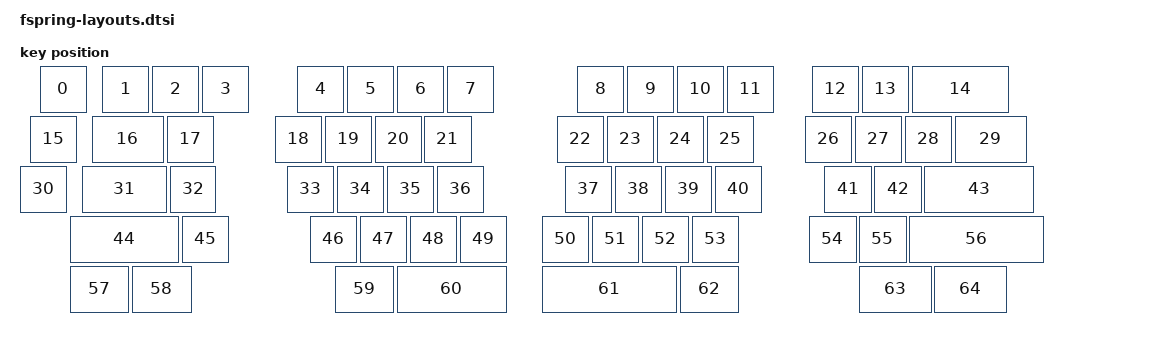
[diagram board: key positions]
/*
 * Copyright (c) 2025 The ZMK Contributors
 *
 * SPDX-License-Identifier: MIT
 */

#include <physical_layouts.dtsi>

/ {
    physical_layout0: physical_layout0 {
        compatible = "zmk,physical-layout";
        display-name = "Default";
        
        transform = <&default_transform>;
        kscan = <&kscan0>;

        keys  //                     w   h    x    y     rot    rx    ry
            = <&key_physical_attrs 100 100   75    0       0     0     0>
            , <&key_physical_attrs 100 100  200    0       0     0     0>
            , <&key_physical_attrs 100 100  300    0       0     0     0>
            , <&key_physical_attrs 100 100  400    0       0     0     0>
            , <&key_physical_attrs 100 100  590    0       0     0     0>
            , <&key_physical_attrs 100 100  690    0       0     0     0>
            , <&key_physical_attrs 100 100  790    0       0     0     0>
            , <&key_physical_attrs 100 100  890    0       0     0     0>
            , <&key_physical_attrs 100 100 1150    0       0     0     0>
            , <&key_physical_attrs 100 100 1250    0       0     0     0>
            , <&key_physical_attrs 100 100 1350    0       0     0     0>
            , <&key_physical_attrs 100 100 1450    0       0     0     0>
            , <&key_physical_attrs 100 100 1620    0       0     0     0>
            , <&key_physical_attrs 100 100 1720    0       0     0     0>
            , <&key_physical_attrs 200 100 1820    0       0     0     0>
            , <&key_physical_attrs 100 100   55  100       0     0     0>
            , <&key_physical_attrs 150 100  180  100       0     0     0>
            , <&key_physical_attrs 100 100  330  100       0     0     0>
            , <&key_physical_attrs 100 100  545  100       0     0     0>
            , <&key_physical_attrs 100 100  645  100       0     0     0>
            , <&key_physical_attrs 100 100  745  100       0     0     0>
            , <&key_physical_attrs 100 100  845  100       0     0     0>
            , <&key_physical_attrs 100 100 1110  100       0     0     0>
            , <&key_physical_attrs 100 100 1210  100       0     0     0>
            , <&key_physical_attrs 100 100 1310  100       0     0     0>
            , <&key_physical_attrs 100 100 1410  100       0     0     0>
            , <&key_physical_attrs 100 100 1605  100       0     0     0>
            , <&key_physical_attrs 100 100 1705  100       0     0     0>
            , <&key_physical_attrs 100 100 1805  100       0     0     0>
            , <&key_physical_attrs 150 100 1905  100       0     0     0>
            , <&key_physical_attrs 100 100   35  200       0     0     0>
            , <&key_physical_attrs 175 100  160  200       0     0     0>
            , <&key_physical_attrs 100 100  335  200       0     0     0>
            , <&key_physical_attrs 100 100  570  200       0     0     0>
            , <&key_physical_attrs 100 100  670  200       0     0     0>
            , <&key_physical_attrs 100 100  770  200       0     0     0>
            , <&key_physical_attrs 100 100  870  200       0     0     0>
            , <&key_physical_attrs 100 100 1125  200       0     0     0>
            , <&key_physical_attrs 100 100 1225  200       0     0     0>
            , <&key_physical_attrs 100 100 1325  200       0     0     0>
            , <&key_physical_attrs 100 100 1425  200       0     0     0>
            , <&key_physical_attrs 100 100 1645  200       0     0     0>
            , <&key_physical_attrs 100 100 1745  200       0     0     0>
            , <&key_physical_attrs 225 100 1845  200       0     0     0>
            , <&key_physical_attrs 225 100  135  300       0     0     0>
            , <&key_physical_attrs 100 100  360  300       0     0     0>
            , <&key_physical_attrs 100 100  615  300       0     0     0>
            , <&key_physical_attrs 100 100  715  300       0     0     0>
            , <&key_physical_attrs 100 100  815  300       0     0     0>
            , <&key_physical_attrs 100 100  915  300       0     0     0>
            , <&key_physical_attrs 100 100 1080  300       0     0     0>
            , <&key_physical_attrs 100 100 1180  300       0     0     0>
            , <&key_physical_attrs 100 100 1280  300       0     0     0>
            , <&key_physical_attrs 100 100 1380  300       0     0     0>
            , <&key_physical_attrs 100 100 1615  300       0     0     0>
            , <&key_physical_attrs 100 100 1715  300       0     0     0>
            , <&key_physical_attrs 275 100 1815  300       0     0     0>
            , <&key_physical_attrs 125 100  135  400       0     0     0>
            , <&key_physical_attrs 125 100  260  400       0     0     0>
            , <&key_physical_attrs 125 100  665  400       0     0     0>
            , <&key_physical_attrs 225 100  790  400       0     0     0>
            , <&key_physical_attrs 275 100 1080  400       0     0     0>
            , <&key_physical_attrs 125 100 1355  400       0     0     0>
            , <&key_physical_attrs 150 100 1715  400       0     0     0>
            , <&key_physical_attrs 150 100 1865  400       0     0     0>
            ;
    };

};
